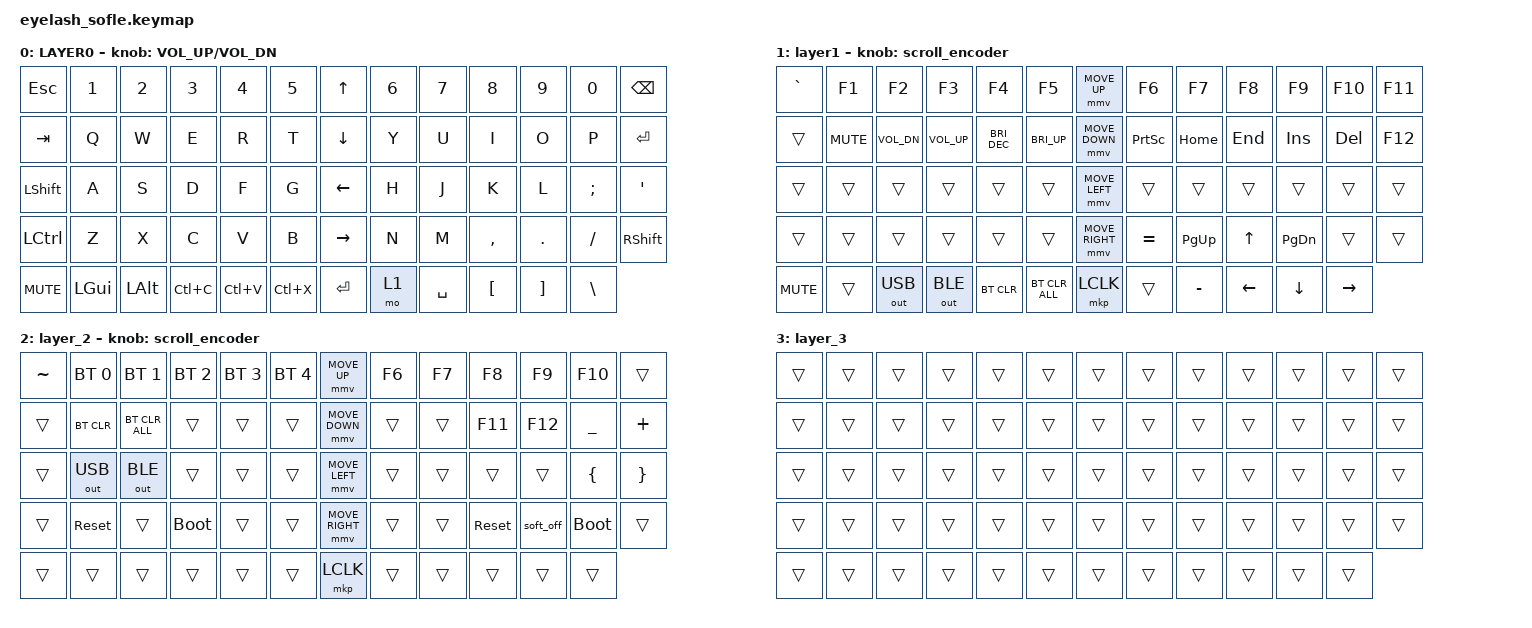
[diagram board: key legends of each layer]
#define ZMK_POINTING_DEFAULT_MOVE_VAL 1200  // 600
#define ZMK_POINTING_DEFAULT_SCRL_VAL 25   // 10

#include <input/processors.dtsi>
#include <zephyr/dt-bindings/input/input-event-codes.h>
#include <behaviors.dtsi>
#include <dt-bindings/zmk/bt.h>
#include <dt-bindings/zmk/keys.h>
#include <dt-bindings/zmk/outputs.h>
#include <dt-bindings/zmk/pointing.h>

&mmv_input_listener { input-processors = <&zip_xy_scaler 2 1>; };

&msc_input_listener { input-processors = <&zip_scroll_scaler 2 1>; };

&msc {
    acceleration-exponent = <1>;      // 0
    time-to-max-speed-ms = <100>;       // 300
    delay-ms = <0>;                   // 0
};

&mmv {
    time-to-max-speed-ms = <500>;
    acceleration-exponent = <1>;
    trigger-period-ms = <16>;
};

/ {
    scroll_encoder: scroll_encoder {
        compatible = "zmk,behavior-sensor-rotate";
        #sensor-binding-cells = <0>;
        bindings = <&msc SCRL_DOWN>, <&msc SCRL_UP>;

        tap-ms = <100>;
    };

    behaviors {
    };

    keymap {
        compatible = "zmk,keymap";

        layer0 {
            bindings = <
&kp ESC     &kp N1        &kp N2        &kp N3     &kp N4     &kp N5       &kp UP_ARROW     &kp N6  &kp N7     &kp N8            &kp N9             &kp N0         &kp BACKSPACE
&kp TAB     &kp Q         &kp W         &kp E      &kp R      &kp T        &kp DOWN_ARROW   &kp Y   &kp U      &kp I             &kp O              &kp P          &kp ENTER
&kp LSHFT   &kp A         &kp S         &kp D      &kp F      &kp G        &kp LEFT_ARROW   &kp H   &kp J      &kp K             &kp L              &kp SEMI       &kp APOS
&kp LCTRL   &kp Z         &kp X         &kp C      &kp V      &kp B        &kp RIGHT_ARROW  &kp N   &kp M      &kp COMMA         &kp DOT            &kp FSLH       &kp RIGHT_SHIFT
&kp C_MUTE  &kp LEFT_GUI  &kp LEFT_ALT  &kp LC(C)  &kp LC(V)  &kp LC(X)    &kp ENTER        &mo 1   &kp SPACE  &kp LEFT_BRACKET  &kp RIGHT_BRACKET  &kp BACKSLASH
            >;

            sensor-bindings = <&inc_dec_kp C_VOLUME_UP C_VOL_DN>;
            display-name = "LAYER0";
        };

        layer_1 {
            bindings = <
&kp GRAVE   &kp F1      &kp F2        &kp F3        &kp F4         &kp F5            &mmv MOVE_UP     &kp F6           &kp F7       &kp F8    &kp F9         &kp F10     &kp F11
&trans      &kp C_MUTE  &kp C_VOL_DN  &kp C_VOL_UP  &kp C_BRI_DEC  &kp C_BRI_UP      &mmv MOVE_DOWN   &kp PRINTSCREEN  &kp HOME     &kp END   &kp INSERT     &kp DELETE  &kp F12
&trans      &trans      &trans        &trans        &trans         &trans            &mmv MOVE_LEFT   &trans           &trans       &trans    &trans         &trans      &trans
&trans      &trans      &trans        &trans        &trans         &trans            &mmv MOVE_RIGHT  &kp EQUAL        &kp PAGE_UP  &kp UP    &kp PAGE_DOWN  &trans      &trans
&kp C_MUTE  &trans      &out OUT_USB  &out OUT_BLE  &bt BT_CLR     &bt BT_CLR_ALL    &mkp LCLK        &trans           &kp MINUS    &kp LEFT  &kp DOWN       &kp RIGHT
            >;

            display-name = "layer1";
            sensor-bindings = <&scroll_encoder>;
        };

        layer_2 {
            bindings = <
&kp TILDE  &bt BT_SEL 0  &bt BT_SEL 1    &bt BT_SEL 2  &bt BT_SEL 3  &bt BT_SEL 4    &mmv MOVE_UP     &kp F6  &kp F7  &kp F8      &kp F9     &kp F10      &trans
&trans     &bt BT_CLR    &bt BT_CLR_ALL  &trans        &trans        &trans          &mmv MOVE_DOWN   &trans  &trans  &kp F11     &kp F12    &kp UNDER    &kp PLUS
&trans     &out OUT_USB  &out OUT_BLE    &trans        &trans        &trans          &mmv MOVE_LEFT   &trans  &trans  &trans      &trans     &kp LBRC     &kp RBRC
&trans     &sys_reset    &trans          &bootloader   &trans        &trans          &mmv MOVE_RIGHT  &trans  &trans  &sys_reset  &soft_off  &bootloader  &trans
&trans     &trans        &trans          &trans        &trans        &trans          &mkp LCLK        &trans  &trans  &trans      &trans     &trans
            >;

            sensor-bindings = <&scroll_encoder>;
        };

        layer_3 {
            bindings = <
&trans  &trans  &trans  &trans  &trans  &trans    &trans  &trans  &trans  &trans  &trans  &trans  &trans
&trans  &trans  &trans  &trans  &trans  &trans    &trans  &trans  &trans  &trans  &trans  &trans  &trans
&trans  &trans  &trans  &trans  &trans  &trans    &trans  &trans  &trans  &trans  &trans  &trans  &trans
&trans  &trans  &trans  &trans  &trans  &trans    &trans  &trans  &trans  &trans  &trans  &trans  &trans
&trans  &trans  &trans  &trans  &trans  &trans    &trans  &trans  &trans  &trans  &trans  &trans
            >;
        };
    };
};
